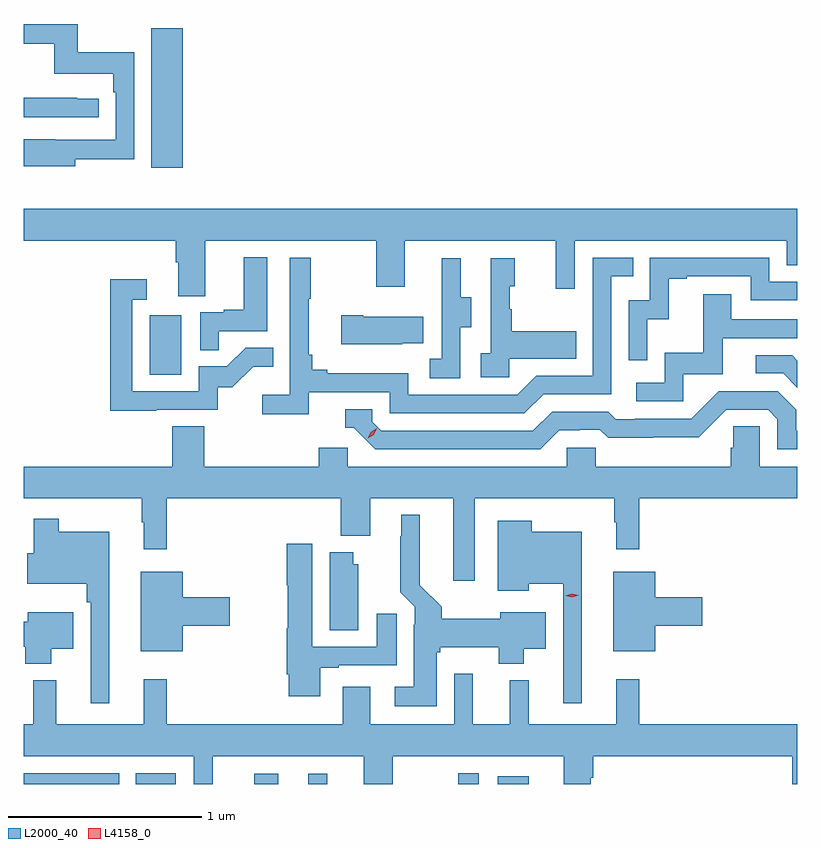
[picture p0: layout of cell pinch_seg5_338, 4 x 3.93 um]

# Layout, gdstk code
import gdstk
lib = gdstk.Library(unit=1e-6, precision=1e-09)
def R(c, l, rs):  # rectangles x0, y0, x1, y1
    for r in rs: c.add(gdstk.rectangle(r[:2], r[2:], *l))
def P(c, l, *ps):  # polygons
    for p in ps: c.add(gdstk.Polygon(p, *l))
L2000_40 = (2000, 40)
L4158_0 = (4158, 0)

pinch_seg5_338 = lib.new_cell('pinch_seg5_338')
R(pinch_seg5_338, L2000_40, [(987.4,880.592,987.894,880.647), (987.979,880.592,988.188,880.647), (988.592,880.592,988.716,880.645), (988.871,880.592,988.97,880.645), (989.646,880.592,989.754,880.648), (989.852,880.592,990.01,880.633), (988.052,882.708,988.216,883.015), (988.061,883.776,988.222,884.497)])
P(pinch_seg5_338, L2000_40, [(987.667,883.822),(987.972,883.822),(987.972,884.374),(987.679,884.374),(987.679,884.52),(987.4,884.52),(987.4,884.419),(987.558,884.419),(987.558,884.264),(987.863,884.264),(987.863,884.168),(987.876,884.168),(987.876,883.923),(987.563,883.923),(987.563,883.924),(987.4,883.924),(987.4,883.784),(987.667,883.784)],
  [(987.79,884.133),(987.677,884.133),(987.677,884.138),(987.4,884.138),(987.4,884.037),(987.79,884.037)],
  [(988.339,883.4),(989.224,883.4),(989.224,883.161),(989.371,883.161),(989.371,883.4),(990.152,883.4),(990.152,883.152),(990.249,883.152),(990.249,883.4),(991.344,883.4),(991.344,883.273),(991.4,883.273),(991.4,883.564),(987.4,883.564),(987.4,883.4),(988.187,883.4),(988.187,883.288),(988.199,883.288),(988.199,883.114),(988.339,883.114)],
  [(988.409,882.933),(988.66,882.933),(988.66,883.315),(988.538,883.315),(988.538,883.042),(988.435,883.042),(988.435,883.029),(988.314,883.029),(988.314,882.835),(988.409,882.835)],
  [(988.874,882.618),(989.292,882.618),(989.292,882.507),(989.989,882.507),(990.088,882.606),(990.438,882.606),(990.438,883.215),(990.551,883.215),(990.551,883.311),(990.342,883.311),(990.342,882.702),(990.051,882.702),(989.952,882.603),(989.388,882.603),(989.388,882.715),(988.969,882.715),(988.969,882.734),(988.892,882.734),(988.892,882.811),(988.873,882.811),(988.873,883.099),(988.885,883.099),(988.885,883.312),(988.776,883.312),(988.776,882.604),(988.635,882.604),(988.635,882.502),(988.874,882.502)],
  [(990.624,882.995),(990.734,882.995),(990.734,883.203),(990.829,883.203),(990.829,883.215),(991.158,883.215),(991.158,883.092),(991.4,883.092),(991.4,883.188),(991.254,883.188),(991.254,883.311),(990.636,883.311),(990.636,883.092),(990.528,883.092),(990.528,882.783),(990.624,882.783)],
  [(989.91,882.791),(990.257,882.791),(990.257,882.931),(989.923,882.931),(989.923,883.046),(989.913,883.046),(989.913,883.164),(989.938,883.164),(989.938,883.309),(989.814,883.309),(989.814,882.818),(989.763,882.818),(989.763,882.693),(989.91,882.693)],
  [(989.658,882.952),(989.713,882.952),(989.713,883.107),(989.659,883.107),(989.659,883.309),(989.561,883.309),(989.561,883.095),(989.562,883.095),(989.562,882.791),(989.499,882.791),(989.499,882.688),(989.658,882.688)],
  [(988.085,882.525),(988.404,882.525),(988.404,882.642),(988.48,882.642),(988.587,882.749),(988.691,882.749),(988.691,882.848),(988.548,882.848),(988.45,882.75),(988.305,882.75),(988.305,882.621),(987.963,882.621),(987.963,883.095),(988.036,883.095),(988.036,883.201),(987.847,883.201),(987.847,882.52),(988.085,882.52)],
  [(990.81,882.711),(991.015,882.711),(991.015,882.897),(991.4,882.897),(991.4,882.993),(991.057,882.993),(991.057,883.123),(990.913,883.123),(990.913,882.82),(990.714,882.82),(990.714,882.666),(990.567,882.666),(990.567,882.57),(990.81,882.57)],
  [(989.357,882.869),(989.465,882.869),(989.465,883.006),(989.155,883.006),(989.155,883.014),(989.043,883.014),(989.043,882.866),(989.357,882.866)],
  [(991.4,882.779),(991.372,882.807),(991.185,882.807),(991.185,882.714),(991.326,882.714),(991.4,882.64)],
  [(990.169,882.42),(990.276,882.42),(990.276,882.423),(990.379,882.423),(990.421,882.381),(990.654,882.381),(990.654,882.383),(990.89,882.383),(991.032,882.525),(991.248,882.525),(991.296,882.477),(991.296,882.321),(991.4,882.321),(991.4,882.417),(991.393,882.417),(991.393,882.527),(991.299,882.621),(990.993,882.621),(990.852,882.48),(990.559,882.48),(990.559,882.477),(990.46,882.477),(990.421,882.516),(990.132,882.516),(990.033,882.417),(989.25,882.417),(989.202,882.465),(989.202,882.528),(989.063,882.528),(989.063,882.432),(989.106,882.432),(989.217,882.321),(990.07,882.321)],
  [(989.731,882.068),(990.453,882.068),(990.453,881.945),(990.464,881.945),(990.464,881.805),(990.581,881.805),(990.581,882.068),(991.4,882.068),(991.4,882.232),(991.206,882.232),(991.206,882.44),(991.069,882.44),(991.069,882.33),(991.055,882.33),(991.055,882.232),(990.357,882.232),(990.357,882.33),(990.207,882.33),(990.207,882.232),(989.076,882.232),(989.076,882.33),(988.925,882.33),(988.925,882.232),(988.334,882.232),(988.334,882.44),(988.169,882.44),(988.169,882.232),(987.4,882.232),(987.4,882.068),(988.011,882.068),(988.011,881.945),(988.022,881.945),(988.022,881.805),(988.139,881.805),(988.139,882.068),(989.039,882.068),(989.039,881.876),(989.191,881.876),(989.191,882.068),(989.621,882.068),(989.621,881.643),(989.731,881.643)],
  [(989.536,881.274),(989.554,881.274),(989.554,881.3),(989.857,881.3),(989.857,881.213),(989.986,881.213),(989.986,881.291),(990.1,881.291),(990.1,881.479),(989.864,881.479),(989.864,881.446),(989.562,881.446),(989.562,881.507),(989.449,881.62),(989.449,881.983),(989.351,881.983),(989.351,881.873),(989.347,881.873),(989.347,881.582),(989.421,881.508),(989.421,881.414),(989.417,881.414),(989.417,881.095),(989.319,881.095),(989.319,880.994),(989.536,880.994)],
  [(987.844,881.896),(987.583,881.896),(987.583,881.962),(987.454,881.962),(987.454,881.785),(987.42,881.785),(987.42,881.627),(987.727,881.627),(987.727,881.531),(987.747,881.531),(987.747,881.01),(987.844,881.01)],
  [(990.286,881.896),(990.027,881.896),(990.027,881.953),(989.852,881.953),(989.852,881.591),(990.01,881.591),(990.01,881.627),(990.189,881.627),(990.189,881.01),(990.286,881.01)],
  [(988.933,881.193),(989.029,881.193),(989.029,881.205),(989.329,881.205),(989.329,881.473),(989.225,881.473),(989.225,881.301),(988.891,881.301),(988.891,881.833),(988.76,881.833),(988.76,881.62),(988.765,881.62),(988.765,881.398),(988.76,881.398),(988.76,881.158),(988.772,881.158),(988.772,881.046),(988.933,881.046)],
  [(989.131,881.727),(989.104,881.727),(989.104,881.791),(988.982,881.791),(988.982,881.386),(989.131,881.386)],
  [(990.664,881.411),(990.907,881.411),(990.907,881.558),(990.664,881.558),(990.664,881.689),(990.449,881.689),(990.449,881.279),(990.664,881.279)],
  [(988.222,881.411),(988.465,881.411),(988.465,881.558),(988.222,881.558),(988.222,881.689),(988.007,881.689),(988.007,881.279),(988.222,881.279)],
  [(987.544,881.291),(987.658,881.291),(987.658,881.479),(987.422,881.479),(987.422,881.431),(987.4,881.431),(987.4,881.302),(987.41,881.302),(987.41,881.213),(987.544,881.213)],
  [(988.379,880.736),(989.159,880.736),(989.159,880.592),(989.307,880.592),(989.307,880.736),(990.191,880.736),(990.191,880.592),(990.331,880.592),(990.331,880.624),(990.344,880.624),(990.344,880.736),(991.373,880.736),(991.373,880.592),(991.4,880.592),(991.4,880.9),(990.581,880.9),(990.581,881.134),(990.464,881.134),(990.464,880.9),(990.011,880.9),(990.011,881.128),(989.912,881.128),(989.912,880.9),(989.723,880.9),(989.723,881.161),(989.625,881.161),(989.625,880.9),(989.191,880.9),(989.191,881.095),(989.051,881.095),(989.051,880.9),(988.139,880.9),(988.139,881.134),(988.022,881.134),(988.022,880.9),(987.569,880.9),(987.569,881.128),(987.451,881.128),(987.451,880.9),(987.4,880.9),(987.4,880.736),(988.281,880.736),(988.281,880.592),(988.379,880.592)])
P(pinch_seg5_338, L4158_0, [(989.179,882.379),(989.179,882.379),(989.195,882.411),(989.226,882.43),(989.226,882.43),(989.226,882.43),(989.21,882.398),(989.179,882.379)],
  [(990.235,881.556),(990.2,881.564),(990.199,881.564),(990.2,881.564),(990.234,881.576),(990.27,881.568),(990.27,881.568),(990.27,881.567)])

lib.write_gds('pinch_seg5_338.gds')
